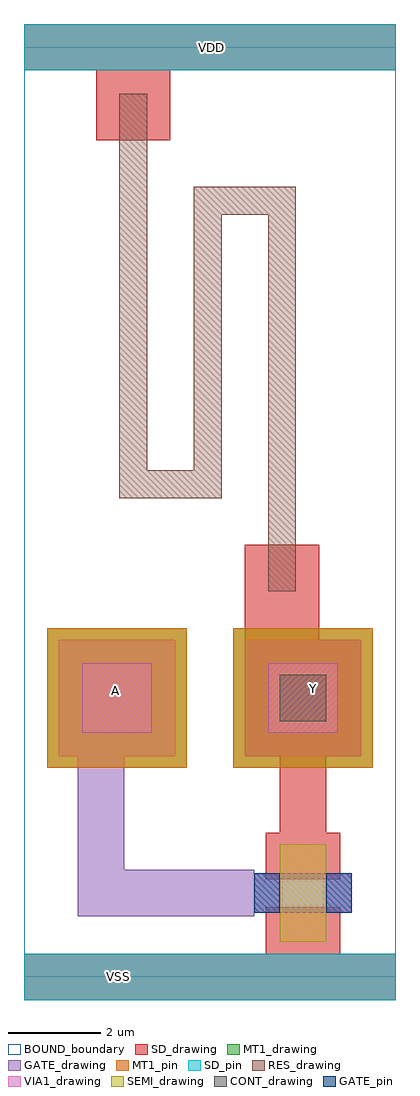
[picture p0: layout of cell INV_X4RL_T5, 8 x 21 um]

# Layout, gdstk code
from math import pi, radians
import gdstk
lib = gdstk.Library(unit=1e-6, precision=1e-09)
def R(c, l, rs):  # rectangles x0, y0, x1, y1
    for r in rs: c.add(gdstk.rectangle(r[:2], r[2:], *l))
def A(c, l, x, y, w, h, nx, ny, dx, dy):  # array of equal rectangles
    R(c, l, [(x+i*dx, y+j*dy, x+i*dx+w, y+j*dy+h) for i in range(nx) for j in range(ny)])
def P(c, l, *ps):  # polygons
    for p in ps: c.add(gdstk.Polygon(p, *l))
RES_drawing = (1, 0)
SEMI_drawing = (3, 0)
SD_drawing = (10, 0)
SD_pin = (10, 3)
GATE_drawing = (11, 0)
GATE_pin = (11, 3)
MT1_drawing = (20, 0)
MT1_pin = (20, 3)
CONT_drawing = (30, 0)
VIA1_drawing = (41, 0)
BOUND_boundary = (150, 5)

res_cdns_772544932690 = lib.new_cell('res_CDNS_772544932690')
A(res_cdns_772544932690, RES_drawing, -1.9, -3.35, 0.6, 6.7, 3, 1, 1.6, 0)
R(res_cdns_772544932690, RES_drawing, [(1.3,-5.35,1.9,-3.35), (-1.3,-3.35,-0.3,-2.75), (0.3,2.75,1.3,3.35), (-1.9,3.35,-1.3,5.35)])
R(res_cdns_772544932690, SD_drawing, [(0.8,-5.85,2.4,-4.35), (-2.4,4.35,-0.8,5.85)])

nch_cdns_772544932691 = lib.new_cell('nch_CDNS_772544932691')
R(nch_cdns_772544932691, SEMI_drawing, [(-1.05,-0.5,1.05,0.5)])
R(nch_cdns_772544932691, SD_drawing, [(-1.3,-0.8,-0.3,0.8), (0.3,-0.8,1.3,0.8)])
R(nch_cdns_772544932691, GATE_drawing, [(-0.425,-1.05,0.425,1.05)])
R(nch_cdns_772544932691, GATE_pin, [(-0.425,-1.05,0.425,-0.5), (-0.425,0.5,0.425,1.05)])

gate_mt1_cdns_7725449326 = lib.new_cell('GATE_MT1_CDNS_772544932690')
R(gate_mt1_cdns_7725449326, GATE_drawing, [(-1.25,-1.25,1.25,1.25)])
R(gate_mt1_cdns_7725449326, MT1_drawing, [(-1.25,-1.25,1.25,1.25)])
R(gate_mt1_cdns_7725449326, VIA1_drawing, [(-0.75,-0.75,0.75,0.75)])

sd_gate_cdns_77254493269 = lib.new_cell('SD_GATE_CDNS_772544932691')
R(sd_gate_cdns_77254493269, SD_drawing, [(-1.25,-1.25,1.25,1.25)])
R(sd_gate_cdns_77254493269, GATE_drawing, [(-1.25,-1.25,1.25,1.25)])
R(sd_gate_cdns_77254493269, CONT_drawing, [(-0.5,-0.5,0.5,0.5)])

inv_x4rl_t5 = lib.new_cell('INV_X4RL_T5')
R(inv_x4rl_t5, SD_drawing, [(0,-0.5,8,0.5), (4.75,7.25,6.35,7.8), (0,19.5,8,20.5)])
R(inv_x4rl_t5, SD_pin, [(0,-0.5,8,0.5), (0,19.5,8,20.5)])
P(inv_x4rl_t5, GATE_drawing, [(4.85,2.3),(4.85,1.3),(4.95,1.3),(4.95,1.425),(5,1.425),(5,2.175),(4.95,2.175),(4.95,2.3)])
R(inv_x4rl_t5, MT1_drawing, [(0.5,4.5,3.5,7.5), (4.5,4.5,7.5,7.5)])
R(inv_x4rl_t5, MT1_pin, [(0.5,4.5,3.5,7.5), (4.5,4.5,7.5,7.5)])
R(inv_x4rl_t5, BOUND_boundary, [(0,0,8,20)])
inv_x4rl_t5.add(gdstk.FlexPath([(1.65,1.8),(1.65,5.2)], 1, ends=(0.5, 0), simple_path=True, layer=11, datatype=0))  # GATE_drawing
inv_x4rl_t5.add(gdstk.FlexPath([(4.85,1.8),(1.65,1.8)], 1, ends=(0, 0.5), simple_path=True, layer=11, datatype=0))  # GATE_drawing
inv_x4rl_t5.add(gdstk.FlexPath([(6,3.1),(6,4.75)], 1, ends="flush", simple_path=True, layer=10, datatype=0))  # SD_drawing
inv_x4rl_t5.add(gdstk.Reference(res_cdns_772544932690, (3.95,13.65)))
inv_x4rl_t5.add(gdstk.Reference(nch_cdns_772544932691, (6,1.8), rotation=pi/2))
inv_x4rl_t5.add(gdstk.Reference(gate_mt1_cdns_7725449326, (2,6)))
inv_x4rl_t5.add(gdstk.Reference(gate_mt1_cdns_7725449326, (6,6)))
inv_x4rl_t5.add(gdstk.Reference(sd_gate_cdns_77254493269, (6,6)))
inv_x4rl_t5.add(gdstk.Label('VDD', (4.025,20), layer=10, texttype=3))
inv_x4rl_t5.add(gdstk.Label('VSS', (2.025,0), layer=10, texttype=3))
inv_x4rl_t5.add(gdstk.Label('A', (1.975,6.15), layer=20, texttype=3))
inv_x4rl_t5.add(gdstk.Label('Y', (6.225,6.2), layer=20, texttype=3))

lib.write_gds('INV_X4RL_T5.gds')
